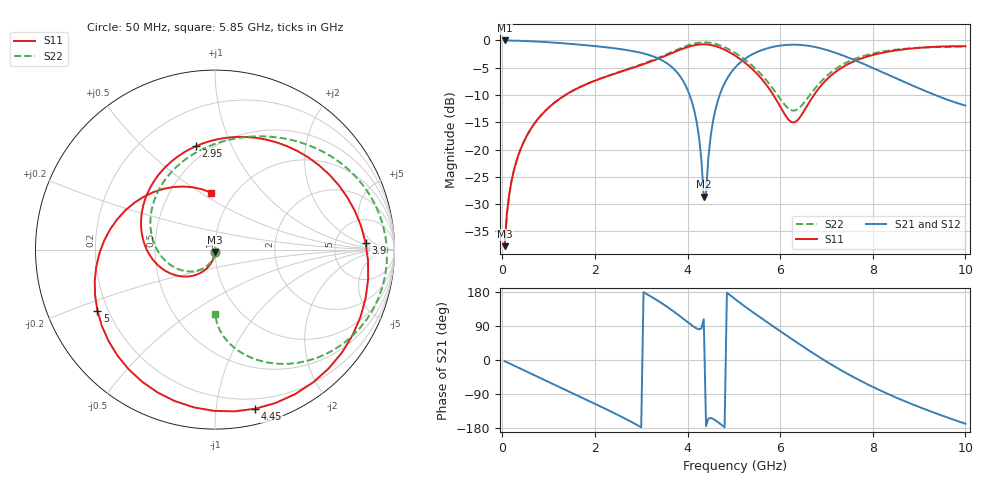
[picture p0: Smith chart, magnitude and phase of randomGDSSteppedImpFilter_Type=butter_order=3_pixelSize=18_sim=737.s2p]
! freq	dB(S11)	phase(S11)	dB(S12)	phase(S12)
!  dB(S21)	phase(S21)	dB(S22)	phase(S22)
!S-par simulation data
#  GHz  S  DB  R 50
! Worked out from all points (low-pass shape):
!   200 points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, 50 MHz to 10 GHz, reference 50 ohm
!   highest |S21| = -0.01 dB at 50 MHz (marker M1); lowest = -28.7 dB at 4.35 GHz (marker M2)
!   |S21| within 3 dB of the highest: start of sweep to 3.282 GHz; 5.304 GHz to 7.431 GHz (2.127 GHz wide, 33.4 % of centre)
!   lowest |S11| = -37.7 dB at 50 MHz (marker M3), VSWR 1.03, Z = 49.9 - j1.3 ohm
!   |S11| at or under -10 dB: start of sweep to 1.364 GHz; 5.853 GHz to 6.731 GHz (877.5 MHz wide, 13.9 % of centre)
!   |S22| runs from -37.7 to -0.4 dB; largest |S21 - S12| = 0
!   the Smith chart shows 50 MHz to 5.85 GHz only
!   S11 on the Smith chart (normalised r, x): 50 MHz: 1.00, -0.03; 2.95 GHz: 0.42, +0.74; 3.9 GHz: 11, +3; 4.45 GHz: 0.12, -1.28; 5 GHz: 0.16, -0.24; 5.85 GHz: 0.79, +0.55
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0.05  -37.70 -91.8  -0.01 -3.0  -0.01 -3.0  -37.71 -92.5
0.2  -25.74 -100.5  -0.03 -11.7  -0.03 -11.7  -25.75 -103.2
0.5  -17.96 -116.2  -0.11 -29.0  -0.11 -29.0  -17.96 -122.9
1.15  -11.26 -149.9  -0.42 -66.4  -0.42 -66.4  -11.26 -164.4
1.75  -8.27 178.2  -0.84 -100.8  -0.84 -100.8  -8.26 158.6
2.95  -4.65 100.6  -2.19 -174.2  -2.19 -174.2  -4.55 89.2
3.4  -3.24 60.3  -3.44 153.2  -3.44 153.2  -3.08 63.6
3.9  -1.52 2.6  -7.36 109.7  -7.36 109.7  -1.25 31.2
4.2  -0.81 -39.0  -15.09 83.0  -15.09 83.0  -0.48 8.0
4.35  -0.72 -61.0  -28.66 107.7  -28.66 107.7  -0.36 -4.4
4.45  -0.78 -75.7  -21.48 -154.8  -21.48 -154.8  -0.39 -12.7
4.65  -1.18 -104.8  -11.18 -163.4  -11.18 -163.4  -0.76 -28.9
5  -2.64 -152.5  -5.24 163.2  -5.24 163.2  -2.15 -53.9
5.05  -2.91 -159.0  -4.76 158.5  -4.76 158.5  -2.41 -57.1
5.45  -5.67 150.1  -2.32 122.7  -2.32 122.7  -5.03 -78.6
5.85  -9.96 93.9  -1.17 88.7  -1.17 88.7  -8.91 -89.6
6.3  -15.03 -11.8  -0.78 51.3  -0.78 51.3  -12.87 -65.9
6.7  -10.38 -103.1  -1.12 18.9  -1.12 18.9  -9.36 -44.8
7.5  -4.21 163.5  -3.24 -39.6  -3.24 -39.6  -3.79 -66.9
8.35  -2.04 92.7  -6.37 -90.8  -6.37 -90.8  -1.86 -98.8
9.2  -1.24 35.9  -9.50 -133.3  -9.50 -133.3  -1.27 -127.8
10  -1.06 -8.1  -11.94 -168.4  -11.94 -168.4  -1.19 -154.2
